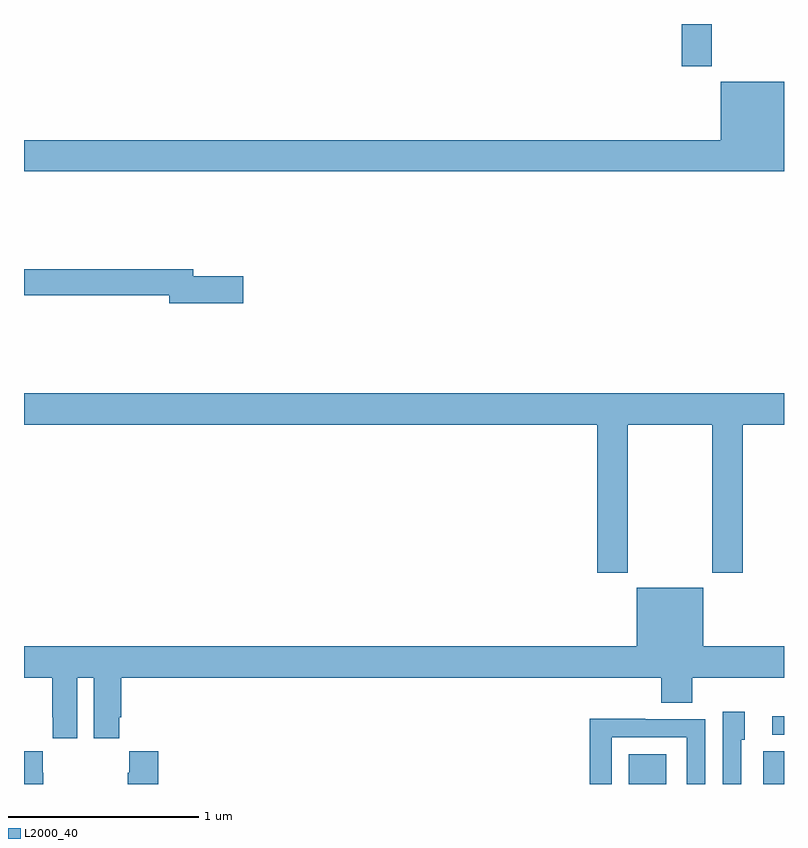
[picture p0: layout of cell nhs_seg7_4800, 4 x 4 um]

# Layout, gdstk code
import gdstk
lib = gdstk.Library(unit=1e-6, precision=1e-09)
def R(c, l, rs):  # rectangles x0, y0, x1, y1
    for r in rs: c.add(gdstk.rectangle(r[:2], r[2:], *l))
def P(c, l, *ps):  # polygons
    for p in ps: c.add(gdstk.Polygon(p, *l))
L2000_40 = (2000, 40)

nhs_seg7_4800 = lib.new_cell('nhs_seg7_4800')
R(nhs_seg7_4800, L2000_40, [(414.182,1056,414.379,1056.157), (414.89,1056,415,1056.173), (414.939,1056.258,415,1056.356), (414.461,1059.777,414.621,1060)])
P(nhs_seg7_4800, L2000_40, [(415,1059.697),(414.668,1059.697),(414.668,1059.388),(411,1059.388),(411,1059.224),(415,1059.224)],
  [(412.153,1058.672),(411.892,1058.672),(411.892,1058.708),(411,1058.708),(411,1058.572),(411.764,1058.572),(411.764,1058.53),(412.153,1058.53)],
  [(411,1057.892),(414.017,1057.892),(414.017,1057.113),(414.177,1057.113),(414.177,1057.892),(414.622,1057.892),(414.622,1057.113),(414.782,1057.113),(414.782,1057.892),(415,1057.892),(415,1058.056),(411,1058.056)],
  [(411.28,1056.56),(411.368,1056.56),(411.368,1056.24),(411.502,1056.24),(411.502,1056.352),(411.512,1056.352),(411.512,1056.56),(414.353,1056.56),(414.353,1056.427),(414.518,1056.427),(414.518,1056.56),(415,1056.56),(415,1056.724),(414.574,1056.724),(414.574,1057.033),(414.224,1057.033),(414.224,1056.724),(411,1056.724),(411,1056.56),(411.149,1056.56),(411.149,1056.352),(411.15,1056.352),(411.15,1056.24),(411.28,1056.24)],
  [(414.774,1056.234),(414.793,1056.234),(414.793,1056.379),(414.678,1056.379),(414.678,1056),(414.774,1056)],
  [(414.093,1056.246),(414.489,1056.246),(414.489,1056),(414.585,1056),(414.585,1056.342),(414.269,1056.342),(414.269,1056.344),(413.977,1056.344),(413.977,1056),(414.093,1056)],
  [(411.102,1056.059),(411.099,1056.059),(411.099,1056.172),(411,1056.172),(411,1056),(411.102,1056)],
  [(411.707,1056.172),(411.553,1056.172),(411.553,1056.059),(411.547,1056.059),(411.547,1056),(411.707,1056)])

lib.write_gds('nhs_seg7_4800.gds')
